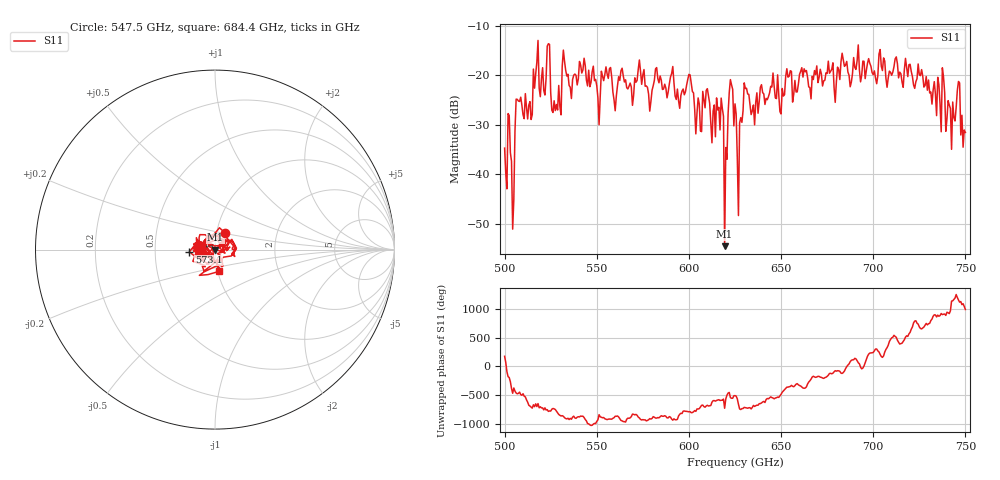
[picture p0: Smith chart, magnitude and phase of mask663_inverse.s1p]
!Created with skrf (http://scikit-rf.org).
# GHz S MA R 50.0
!freq magS11 angS11
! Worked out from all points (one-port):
!   401 points, 500 GHz to 750 GHz, reference 50 ohm
!   lowest |S11| = -54.6 dB at 619.4 GHz (marker M1), VSWR 1.00, Z = 50.2 - j0.0184 ohm
!   |S11| at or under -10 dB: start of sweep to end of sweep
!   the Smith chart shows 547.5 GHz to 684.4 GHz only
!   S11 on the Smith chart (normalised r, x): 547.5 GHz: 1.10, +0.21; 573.1 GHz: 0.75, -0.02; 684.4 GHz: 1.01, -0.25
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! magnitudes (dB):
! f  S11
! 500 GHz  -34.7
! 502.5 GHz  -28.1
! 504.4 GHz  -51.1
! 507.5 GHz  -25.2
! 513.8 GHz  -25.3
! 516.9 GHz  -19.7
! 523.8 GHz  -13.6
! 526.9 GHz  -25.1
! 531.2 GHz  -18.2
! 547.5 GHz  -19.3
! 562.5 GHz  -21.0
! 573.1 GHz  -16.9
! 593.8 GHz  -22.8
! 600 GHz  -19.8
! 616.2 GHz  -26.5
! 619.4 GHz  -54.6
! 622.5 GHz  -20.8
! 625 GHz  -25.8
! 627.5 GHz  -29.6
! 631.2 GHz  -22.6
! 634.4 GHz  -27.2
! 656.2 GHz  -25.4
! 684.4 GHz  -18.2
! 687.5 GHz  -22.3
! 718.8 GHz  -20.2
! 743.1 GHz  -25.4
! 745.6 GHz  -23.0
! 750 GHz  -31.6
